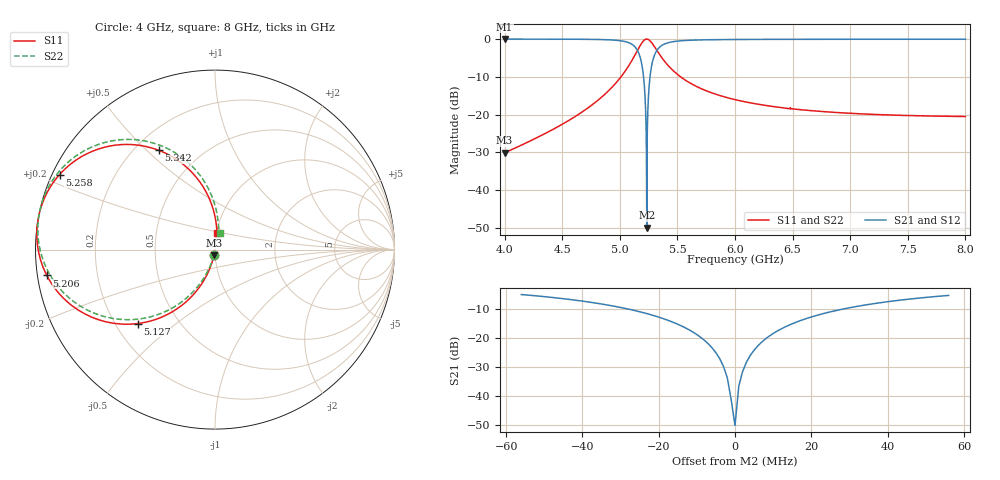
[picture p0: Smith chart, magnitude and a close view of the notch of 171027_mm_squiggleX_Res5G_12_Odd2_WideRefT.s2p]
! Sonnet Data File
! From: emgraph Version : 16.52
! From Emgraph Data: 171027_mm_squiggleX_Res5G_12_Odd2
! Data File Written: 11/20/2017 10:36:56
!< HDATE 11/20/2017 10:10:04
!< MDATE 11/20/2017 10:10:04
!< PARAMS
!< dCr = 12.0
!< Squiggle_length = 16.0
!< END PARAMS
# GHZ S MA R 50.00000
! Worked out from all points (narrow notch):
!   4001 points, 4 GHz to 8 GHz, reference 50 ohm
!   highest |S21| = 0.00 dB at 4 GHz (marker M1); lowest = -50.0 dB at 5.234 GHz (marker M2)
!   notch at M2: 49.9 dB deep, 9.47 MHz wide at half that depth
!   lowest |S11| = -30.2 dB at 4 GHz (marker M3), VSWR 1.06, Z = 49.4 - j3.02 ohm
!   |S11| at or under -10 dB: start of sweep to 5.011 GHz; 5.527 GHz to end of sweep
!   |S22| runs from -30.2 to 0.0 dB; largest |S21 - S12| = 8.1e-13
!   S11 on the Smith chart (normalised r, x): 4 GHz: 0.99, -0.06; 5.127 GHz: 0.29, -0.37; 5.206 GHz: 0.03, -0.08; 5.258 GHz: 0.02, +0.23; 5.342 GHz: 0.29, +0.55; 8 GHz: 1.01, +0.19
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4  0.03105 -100.2  0.9995 -10.4  0.9995 -10.4  0.03105 -100.7
!< P1 F=4.0 Eeff=(7.89476189 -3.6406e-5) Z0=(50.4656918 1.16279e-4) R=0.0 C=0.0
!< P2 F=4.0 Eeff=(7.89476189 -3.6406e-5) Z0=(50.4656918 1.16279e-4) R=0.0 C=0.0
4.667  0.1065 -105.2  0.9943 -16.2  0.9943 -16.2  0.1065 -107.3
4.987  0.2852 -116.1  0.9585 -27.4  0.9585 -27.4  0.2852 -118.7
5.068  0.4205 -124.5  0.9072 -35.9  0.9072 -35.9  0.4205 -127.3
5.127  0.5967 -136.3  0.8024 -47.8  0.8024 -47.8  0.5967 -139.3
5.177  0.8208 -154.9  0.571 -66.4  0.571 -66.4  0.8208 -158.0
5.206  0.9481 -171.3  0.3174 -82.8  0.3174 -82.8  0.9481 -174.4
5.219  0.9846 -179.8  0.1739 -91.3  0.1739 -91.3  0.9846 177.1
5.234  0.9999 170.0  0.003162 75.8  0.003162 75.8  0.9999 166.9
5.248  0.986 160.6  0.166 69.0  0.166 69.0  0.986 157.4
5.258  0.9616 154.3  0.274 62.6  0.274 62.6  0.9616 151.1
5.269  0.9246 147.8  0.3806 56.2  0.3806 56.2  0.9246 144.6
5.285  0.8599 139.4  0.5103 47.8  0.5103 47.8  0.8599 136.2
5.334  0.6623 121.5  0.7492 29.9  0.7492 29.9  0.6623 118.2
5.342  0.635 119.5  0.7724 27.8  0.7724 27.8  0.635 116.1
5.408  0.4672 107.8  0.8841 16.1  0.8841 16.1  0.4672 104.4
5.508  0.333 99.3  0.9429 7.5  0.9429 7.5  0.333 95.6
5.716  0.217 92.1  0.9762 0.1  0.9762 0.1  0.217 88.1
6  0.1576 88.2  0.9875 -4.0  0.9875 -4.0  0.1576 83.7
6.667  0.1123 84.7  0.9937 -8.2  0.9937 -8.2  0.1123 79.0
7.334  0.09866 83.0  0.9951 -10.5  0.9951 -10.5  0.09865 76.0
8  0.09403 81.9  0.9956 -12.3  0.9956 -12.3  0.09403 73.5
